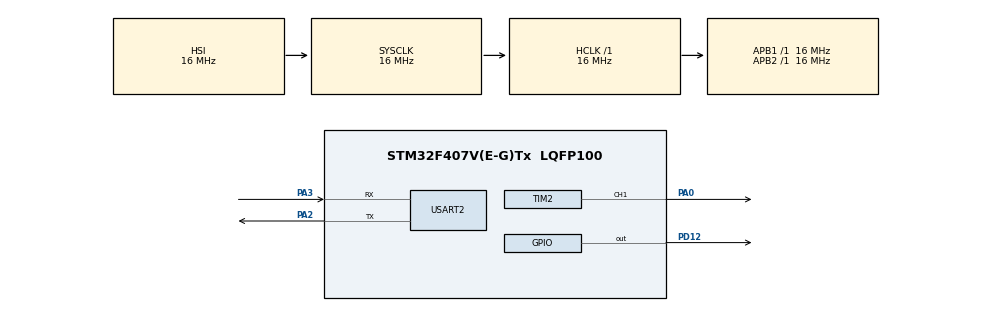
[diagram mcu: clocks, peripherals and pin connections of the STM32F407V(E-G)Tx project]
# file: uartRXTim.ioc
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Mcu.Family=STM32F4
Mcu.Name=STM32F407V(E-G)Tx
Mcu.Package=LQFP100
NVIC.PriorityGroup=NVIC_PRIORITYGROUP_4
NVIC.TIM2_IRQn=true\:0\:0\:false\:false\:true\:true
NVIC.USART2_IRQn=true\:0\:0\:false\:false\:true\:true
PA0-WKUP.Signal=S_TIM2_CH1_ETR
PA2.Mode=Asynchronous
PA2.Signal=USART2_TX
PA3.Mode=Asynchronous
PA3.Signal=USART2_RX
PD12.Signal=GPIO_Output
PH0-OSC_IN.Mode=HSE-External-Oscillator
PH0-OSC_IN.Signal=RCC_OSC_IN
PH1-OSC_OUT.Mode=HSE-External-Oscillator
PH1-OSC_OUT.Signal=RCC_OSC_OUT
ProjectManager.HeapSize=0x200
ProjectManager.StackSize=0x400
ProjectManager.TargetToolchain=TrueSTUDIO
RCC.AHBFreq_Value=16000000
RCC.APB1Freq_Value=16000000
RCC.APB2Freq_Value=16000000
RCC.CortexFreq_Value=16000000
RCC.HSE_VALUE=25000000
RCC.HSI_VALUE=16000000
RCC.LSE_VALUE=32768
RCC.SYSCLKFreq_VALUE=16000000
RCC.VCOOutputFreq_Value=192000000
SH.S_TIM2_CH1_ETR.0=TIM2_CH1,Output Compare1 CH1
TIM2.Channel-Output\ Compare1\ CH1=TIM_CHANNEL_1
TIM2.OCMode_1=TIM_OCMODE_TOGGLE
TIM2.Period=199
TIM2.Prescaler=799
USART2.VirtualMode=VM_ASYNC
VP_TIM2_VS_ClockSourceINT.Mode=Internal
board=uartRXTim

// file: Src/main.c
/**
  ******************************************************************************
  * File Name          : main.c
  * Description        : Main program body
  ******************************************************************************
  ** This notice applies to any and all portions of this file
  * that are not between comment pairs USER CODE BEGIN and
  * USER CODE END. Other portions of this file, whether
  * inserted by the user or by software development tools
  * are owned by their respective copyright owners.
  *
  * COPYRIGHT(c) 2018 STMicroelectronics
  *
  * Redistribution and use in source and binary forms, with or without modification,
  * are permitted provided that the following conditions are met:
  *   1. Redistributions of source code must retain the above copyright notice,
  *      this list of conditions and the following disclaimer.
  *   2. Redistributions in binary form must reproduce the above copyright notice,
  *      this list of conditions and the following disclaimer in the documentation
  *      and/or other materials provided with the distribution.
  *   3. Neither the name of STMicroelectronics nor the names of its contributors
  *      may be used to endorse or promote products derived from this software
  *      without specific prior written permission.
  *
  * THIS SOFTWARE IS PROVIDED BY THE COPYRIGHT HOLDERS AND CONTRIBUTORS "AS IS"
  * AND ANY EXPRESS OR IMPLIED WARRANTIES, INCLUDING, BUT NOT LIMITED TO, THE
  * IMPLIED WARRANTIES OF MERCHANTABILITY AND FITNESS FOR A PARTICULAR PURPOSE ARE
  * DISCLAIMED. IN NO EVENT SHALL THE COPYRIGHT HOLDER OR CONTRIBUTORS BE LIABLE
  * FOR ANY DIRECT, INDIRECT, INCIDENTAL, SPECIAL, EXEMPLARY, OR CONSEQUENTIAL
  * DAMAGES (INCLUDING, BUT NOT LIMITED TO, PROCUREMENT OF SUBSTITUTE GOODS OR
  * SERVICES; LOSS OF USE, DATA, OR PROFITS; OR BUSINESS INTERRUPTION) HOWEVER
  * CAUSED AND ON ANY THEORY OF LIABILITY, WHETHER IN CONTRACT, STRICT LIABILITY,
  * OR TORT (INCLUDING NEGLIGENCE OR OTHERWISE) ARISING IN ANY WAY OUT OF THE USE
  * OF THIS SOFTWARE, EVEN IF ADVISED OF THE POSSIBILITY OF SUCH DAMAGE.
  *
  ******************************************************************************
  */

#include "main.h"
#include "stm32f4xx_hal.h"

/* USER CODE BEGIN Includes */
#define    M_PCLKVALUE    16000000
#define    M_PRESCALAR    100
/* USER CODE END Includes */

TIM_HandleTypeDef htim2;

UART_HandleTypeDef huart2;

/* USER CODE BEGIN PV */
/* Private variables ---------------------------------------------------------*/

/* USER CODE END PV */

void SystemClock_Config(void);
static void MX_GPIO_Init(void);
static void MX_USART2_UART_Init(void);
static void MX_TIM2_Init(void);
void HAL_TIM_MspPostInit(TIM_HandleTypeDef *htim);

/* USER CODE BEGIN PFP */
/* Private function prototypes -----------------------------------------------*/

/* USER CODE END PFP */

/* USER CODE BEGIN 0 */

extern uint8_t a_freq_u8[10] ;
uint16_t v_freq_u16 = 0;
uint16_t v_arrValue_u16;
volatile uint8_t v_flag_u8;

uint16_t strToVar(uint8_t str[])
{
   int8_t v_cnt_u8 ;
   v_freq_u16 = 0;
   for(v_cnt_u8 = 0; v_cnt_u8 < 10; v_cnt_u8++)
   {
	   if(str[v_cnt_u8] == '\r')
	   {
		   break;
	   }
	   v_freq_u16  *= 10;
	   v_freq_u16  += (str[v_cnt_u8] - 48);
   }
   return v_freq_u16;
}

void setARRValue(uint16_t v_reqFreq_u16)
{
    v_arrValue_u16 = (M_PCLKVALUE)/(2 * M_PRESCALAR * v_reqFreq_u16);
    v_arrValue_u16 -= 1;
}

//void HAL_UART_RxCpltCallback(UART_HandleTypeDef *huart)
//{
//	v_flag_u8 = 1;
//	 setARRValue(strToVar(a_freq_u8));
//		   __HAL_TIM_SET_AUTORELOAD(&htim2,v_arrValue_u16);
//		   __HAL_TIM_SetCounter(&htim2,0);
//
//		   HAL_UART_Receive_IT(&huart2, a_freq_u8, 10);
//}
/* USER CODE END 0 */

int main(void)
{

  /* MCU Configuration----------------------------------------------------------*/

  /* Reset of all peripherals, Initializes the Flash interface and the Systick. */
  HAL_Init();

  /* Configure the system clock */
  SystemClock_Config();

  /* Initialize all configured peripherals */
  MX_GPIO_Init();
  MX_USART2_UART_Init();
  MX_TIM2_Init();

  /* USER CODE BEGIN 2 */

  HAL_TIM_OC_Start(&htim2, TIM_CHANNEL_1);

  /* USER CODE END 2 */
  SET_BIT(huart2.Instance->CR1, USART_CR1_RXNEIE);
  /* Infinite loop */
  while (1)
  {

  /* USER CODE BEGIN 3 */
	  if(10 == v_flag_u8)
	  {
		  v_flag_u8 = 0 ;
		  setARRValue(strToVar(a_freq_u8));
          __HAL_TIM_SET_AUTORELOAD(&htim2,v_arrValue_u16);
	      __HAL_TIM_SetCounter(&htim2,0);
	  }
  }
  /* USER CODE END 3 */

}

/** System Clock Configuration
*/
void SystemClock_Config(void)
{

  RCC_OscInitTypeDef RCC_OscInitStruct;
  RCC_ClkInitTypeDef RCC_ClkInitStruct;

    /**Configure the main internal regulator output voltage
    */
  __HAL_RCC_PWR_CLK_ENABLE();

  __HAL_PWR_VOLTAGESCALING_CONFIG(PWR_REGULATOR_VOLTAGE_SCALE1);

    /**Initializes the CPU, AHB and APB busses clocks
    */
  RCC_OscInitStruct.OscillatorType = RCC_OSCILLATORTYPE_HSI;
  RCC_OscInitStruct.HSIState = RCC_HSI_ON;
  RCC_OscInitStruct.HSICalibrationValue = 16;
  RCC_OscInitStruct.PLL.PLLState = RCC_PLL_NONE;
  if (HAL_RCC_OscConfig(&RCC_OscInitStruct) != HAL_OK)
  {
    _Error_Handler(__FILE__, __LINE__);
  }

    /**Initializes the CPU, AHB and APB busses clocks
    */
  RCC_ClkInitStruct.ClockType = RCC_CLOCKTYPE_HCLK|RCC_CLOCKTYPE_SYSCLK
                              |RCC_CLOCKTYPE_PCLK1|RCC_CLOCKTYPE_PCLK2;
  RCC_ClkInitStruct.SYSCLKSource = RCC_SYSCLKSOURCE_HSI;
  RCC_ClkInitStruct.AHBCLKDivider = RCC_SYSCLK_DIV1;
  RCC_ClkInitStruct.APB1CLKDivider = RCC_HCLK_DIV1;
  RCC_ClkInitStruct.APB2CLKDivider = RCC_HCLK_DIV1;

  if (HAL_RCC_ClockConfig(&RCC_ClkInitStruct, FLASH_LATENCY_0) != HAL_OK)
  {
    _Error_Handler(__FILE__, __LINE__);
  }

    /**Configure the Systick interrupt time
    */
  HAL_SYSTICK_Config(HAL_RCC_GetHCLKFreq()/1000);

    /**Configure the Systick
    */
  HAL_SYSTICK_CLKSourceConfig(SYSTICK_CLKSOURCE_HCLK);

  /* SysTick_IRQn interrupt configuration */
  HAL_NVIC_SetPriority(SysTick_IRQn, 0, 0);
}

/* TIM2 init function */
static void MX_TIM2_Init(void)
{

  TIM_ClockConfigTypeDef sClockSourceConfig;
  TIM_MasterConfigTypeDef sMasterConfig;
  TIM_OC_InitTypeDef sConfigOC;

  htim2.Instance = TIM2;
  htim2.Init.Prescaler = 99;
  htim2.Init.CounterMode = TIM_COUNTERMODE_UP;
  htim2.Init.Period = 799;
  htim2.Init.ClockDivision = TIM_CLOCKDIVISION_DIV1;
  if (HAL_TIM_Base_Init(&htim2) != HAL_OK)
  {
    _Error_Handler(__FILE__, __LINE__);
  }

  sClockSourceConfig.ClockSource = TIM_CLOCKSOURCE_INTERNAL;
  if (HAL_TIM_ConfigClockSource(&htim2, &sClockSourceConfig) != HAL_OK)
  {
    _Error_Handler(__FILE__, __LINE__);
  }

  if (HAL_TIM_OC_Init(&htim2) != HAL_OK)
  {
    _Error_Handler(__FILE__, __LINE__);
  }

  sMasterConfig.MasterOutputTrigger = TIM_TRGO_RESET;
  sMasterConfig.MasterSlaveMode = TIM_MASTERSLAVEMODE_DISABLE;
  if (HAL_TIMEx_MasterConfigSynchronization(&htim2, &sMasterConfig) != HAL_OK)
  {
    _Error_Handler(__FILE__, __LINE__);
  }

  sConfigOC.OCMode = TIM_OCMODE_TOGGLE;
  sConfigOC.Pulse = 0;
  sConfigOC.OCPolarity = TIM_OCPOLARITY_HIGH;
  sConfigOC.OCFastMode = TIM_OCFAST_DISABLE;
  if (HAL_TIM_OC_ConfigChannel(&htim2, &sConfigOC, TIM_CHANNEL_1) != HAL_OK)
  {
    _Error_Handler(__FILE__, __LINE__);
  }

  HAL_TIM_MspPostInit(&htim2);

}

/* USART2 init function */
static void MX_USART2_UART_Init(void)
{

  huart2.Instance = USART2;
  huart2.Init.BaudRate = 115200;
  huart2.Init.WordLength = UART_WORDLENGTH_8B;
  huart2.Init.StopBits = UART_STOPBITS_1;
  huart2.Init.Parity = UART_PARITY_NONE;
  huart2.Init.Mode = UART_MODE_TX_RX;
  huart2.Init.HwFlowCtl = UART_HWCONTROL_NONE;
  huart2.Init.OverSampling = UART_OVERSAMPLING_16;
  if (HAL_UART_Init(&huart2) != HAL_OK)
  {
    _Error_Handler(__FILE__, __LINE__);
  }

}

/** Configure pins as
        * Analog
        * Input
        * Output
        * EVENT_OUT
        * EXTI
*/
static void MX_GPIO_Init(void)
{

  GPIO_InitTypeDef GPIO_InitStruct;

  /* GPIO Ports Clock Enable */
  __HAL_RCC_GPIOH_CLK_ENABLE();
  __HAL_RCC_GPIOA_CLK_ENABLE();
  __HAL_RCC_GPIOD_CLK_ENABLE();

  /*Configure GPIO pin Output Level */
  HAL_GPIO_WritePin(GPIOD, GPIO_PIN_12, GPIO_PIN_RESET);

  /*Configure GPIO pin : PD12 */
  GPIO_InitStruct.Pin = GPIO_PIN_12;
  GPIO_InitStruct.Mode = GPIO_MODE_OUTPUT_PP;
  GPIO_InitStruct.Pull = GPIO_NOPULL;
  GPIO_InitStruct.Speed = GPIO_SPEED_FREQ_LOW;
  HAL_GPIO_Init(GPIOD, &GPIO_InitStruct);

}

void _Error_Handler(char * file, int line)
{
  while(1)
  {
  }
}

/************************ (C) COPYRIGHT STMicroelectronics *****END OF FILE****/
